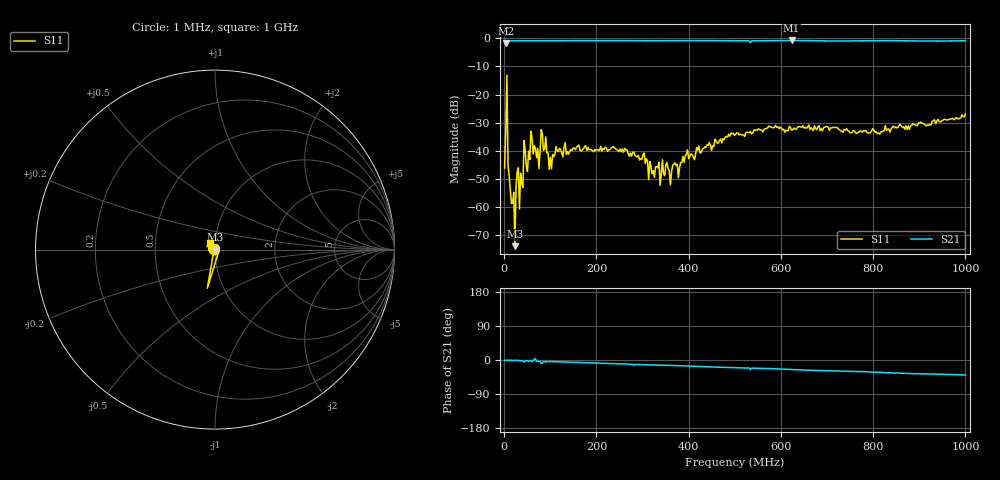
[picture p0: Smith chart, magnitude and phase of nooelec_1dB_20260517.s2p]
# HZ S RI R 50
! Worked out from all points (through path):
!   404 points, 1 MHz to 1 GHz, reference 50 ohm
!   highest |S21| = -0.78 dB at 623.2 MHz (marker M1); lowest = -1.7 dB at 3.479 MHz (marker M2)
!   group delay of S21, straight-line fit = 110 ps
!   lowest |S11| = -73.9 dB at 23.31 MHz (marker M3), VSWR 1.00, Z = 50 + j0.00941 ohm
!   |S11| at or under -10 dB: start of sweep to end of sweep
!   S12 and S22 are empty: the file has one direction only
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1000000  -0.00468 -0.00156  0.892 -0.012  0 0  0 0
3478908  0.0218 -0.0075  0.823 -0.0143  0 0  0 0
8436724  -0.0055 -0.000821  0.8964 -0.00894  0 0  0 0
1.339454e7  -0.00192 0.000451  0.8988 -0.00981  0 0  0 0
1.835236e7  0.000619 0.001  0.8983 -0.0256  0 0  0 0
2.331017e7  -0.000179 9.41e-05  0.9009 -0.0133  0 0  0 0
4.809925e7  -0.00396 0.00349  0.9003 -0.0314  0 0  0 0
6.29727e7  -0.00873 0.00115  0.9021 -0.0405  0 0  0 0
7.288833e7  -0.0105 -0.00383  0.901 -0.0686  0 0  0 0
8.528287e7  -0.01 -0.00195  0.8997 -0.0554  0 0  0 0
1.026352e8  -0.00211 -0.00427  0.9011 -0.064  0 0  0 0
1.175087e8  -0.00901 -0.00334  0.9002 -0.0774  0 0  0 0
1.695657e8  -0.0104 0.000904  0.9011 -0.1075  0 0  0 0
2.612853e8  -0.0053 0.00973  0.892 -0.1683  0 0  0 0
3.356526e8  0.00629 -0.000321  0.8799 -0.211  0 0  0 0
3.604417e8  0.00166 -0.00185  0.8775 -0.2238  0 0  0 0
3.926675e8  0.000765 -0.00808  0.8748 -0.2441  0 0  0 0
5.017394e8  -0.0192 -0.00306  0.8425 -0.3145  0 0  0 0
6.232059e8  -0.00629 0.0225  0.8274 -0.3874  0 0  0 0
6.678263e8  0.00853 0.0231  0.8065 -0.4126  0 0  0 0
8.339131e8  -0.000905 -0.0244  0.7547 -0.5024  0 0  0 0
9.999999e8  -0.0268 0.036  0.6943 -0.5768  0 0  0 0
